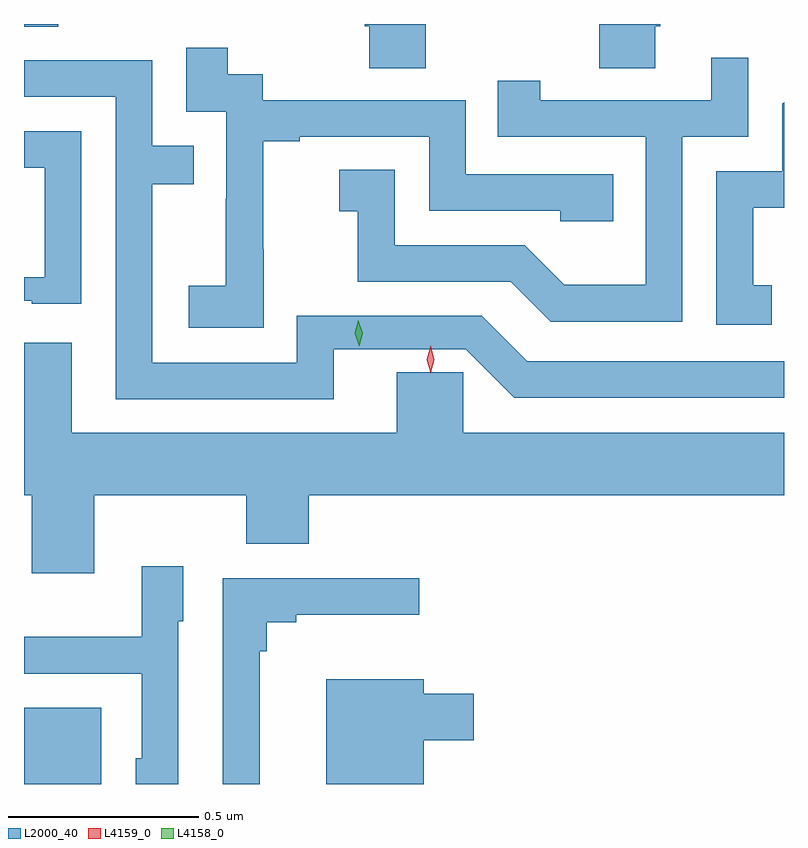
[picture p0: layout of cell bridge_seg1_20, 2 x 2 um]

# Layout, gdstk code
import gdstk
lib = gdstk.Library(unit=1e-6, precision=1e-09)
def R(c, l, rs):  # rectangles x0, y0, x1, y1
    for r in rs: c.add(gdstk.rectangle(r[:2], r[2:], *l))
def P(c, l, *ps):  # polygons
    for p in ps: c.add(gdstk.Polygon(p, *l))
L2000_40 = (2000, 40)
L4158_0 = (4158, 0)
L4159_0 = (4159, 0)

bridge_seg1_20 = lib.new_cell('bridge_seg1_20')
R(bridge_seg1_20, L2000_40, [(832.214,541.648,832.417,541.849), (832.214,543.641,832.304,543.648)])
P(bridge_seg1_20, L2000_40, [(833.271,543.648),(833.111,543.648),(833.111,543.642),(833.123,543.642),(833.123,543.532),(833.271,543.532)],
  [(833.875,543.642),(833.888,543.642),(833.888,543.648),(833.728,543.648),(833.728,543.532),(833.875,543.532)],
  [(832.845,543.055),(832.844,543.055),(832.844,543.339),(832.939,543.339),(832.939,543.351),(833.28,543.351),(833.28,543.156),(833.625,543.156),(833.625,543.129),(833.765,543.129),(833.765,543.252),(833.376,543.252),(833.376,543.447),(832.842,543.447),(832.842,543.516),(832.75,543.516),(832.75,543.586),(832.641,543.586),(832.641,543.417),(832.746,543.417),(832.746,543.188),(832.745,543.188),(832.745,542.959),(832.647,542.959),(832.647,542.849),(832.845,542.849)],
  [(833.946,543.351),(834.12,543.351),(834.12,543.559),(834.023,543.559),(834.023,543.447),(833.572,543.447),(833.572,543.499),(833.461,543.499),(833.461,543.351),(833.85,543.351),(833.85,542.962),(833.636,542.962),(833.532,543.066),(833.19,543.066),(833.19,543.265),(833.043,543.265),(833.043,543.155),(833.092,543.155),(833.092,542.97),(833.495,542.97),(833.6,542.865),(833.946,542.865)],
  [(833.029,542.792),(833.377,542.792),(833.504,542.664),(834.214,542.664),(834.214,542.76),(833.538,542.76),(833.418,542.88),(832.932,542.88),(832.932,542.757),(832.551,542.757),(832.551,543.226),(832.661,543.226),(832.661,543.327),(832.551,543.327),(832.551,543.552),(832.214,543.552),(832.214,543.456),(832.455,543.456),(832.455,542.661),(833.029,542.661)],
  [(834.182,542.961),(834.133,542.961),(834.133,543.165),(834.214,543.165),(834.214,543.442),(834.21,543.438),(834.21,543.261),(834.036,543.261),(834.036,542.856),(834.182,542.856)],
  [(832.365,543.366),(832.214,543.366),(832.214,543.27),(832.269,543.27),(832.269,542.982),(832.214,542.982),(832.214,542.92),(832.235,542.92),(832.235,542.912),(832.365,542.912)],
  [(832.399,542.408),(832.799,542.408),(832.799,542.28),(832.963,542.28),(832.963,542.408),(834.214,542.408),(834.214,542.572),(833.37,542.572),(833.37,542.731),(833.195,542.731),(833.195,542.572),(832.339,542.572),(832.339,542.809),(832.214,542.809),(832.214,542.408),(832.235,542.408),(832.235,542.202),(832.399,542.202)],
  [(832.62,542.076),(832.633,542.076),(832.633,542.221),(832.524,542.221),(832.524,542.035),(832.214,542.035),(832.214,541.938),(832.524,541.938),(832.524,541.716),(832.508,541.716),(832.508,541.648),(832.62,541.648)],
  [(832.834,541.997),(832.853,541.997),(832.853,542.074),(832.93,542.074),(832.93,542.093),(833.254,542.093),(833.254,542.19),(832.737,542.19),(832.737,541.648),(832.834,541.648)],
  [(833.266,541.763),(833.398,541.763),(833.398,541.885),(833.266,541.885),(833.266,541.924),(833.009,541.924),(833.009,541.648),(833.266,541.648)])
P(bridge_seg1_20, L4158_0, [(833.096,542.8),(833.096,542.8),(833.085,542.834),(833.094,542.868),(833.094,542.869),(833.094,542.868),(833.105,542.834),(833.096,542.8)])
P(bridge_seg1_20, L4159_0, [(833.284,542.729),(833.284,542.73),(833.274,542.765),(833.284,542.801),(833.284,542.801),(833.284,542.801),(833.294,542.765),(833.284,542.73)])

lib.write_gds('bridge_seg1_20.gds')
